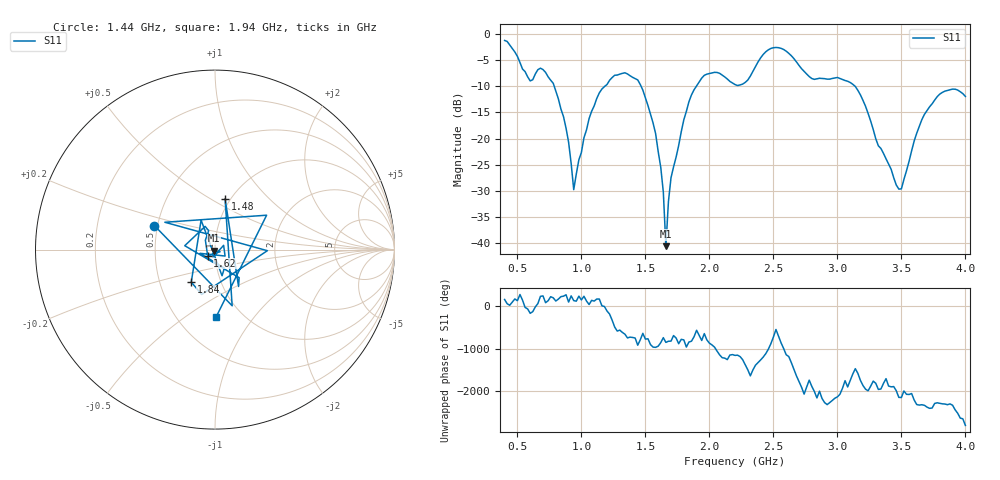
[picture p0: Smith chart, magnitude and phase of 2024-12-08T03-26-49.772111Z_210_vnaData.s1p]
!Created with skrf (http://scikit-rf.org).
# Hz S RI R 50.0
!freq ReS11 ImS11
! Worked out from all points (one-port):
!   181 points, 400 MHz to 4 GHz, reference 50 ohm
!   lowest |S11| = -40.5 dB at 1.66 GHz (marker M1), VSWR 1.02, Z = 49.3 - j0.657 ohm
!   |S11| at or under -10 dB: 787.3 MHz to 1.184 GHz (397 MHz wide, 40.3 % of centre); 1.466 GHz to 1.899 GHz (432.8 MHz wide, 25.7 % of centre); 3.137 GHz to end of sweep
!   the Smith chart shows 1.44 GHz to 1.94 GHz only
!   S11 on the Smith chart (normalised r, x): 1.44 GHz: 0.48, +0.15; 1.48 GHz: 0.94, +0.59; 1.62 GHz: 0.92, -0.06; 1.84 GHz: 0.72, -0.28; 1.94 GHz: 0.76, -0.67
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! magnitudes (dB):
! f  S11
! 400 MHz  -1.3
! 600 MHz  -9.0
! 720 MHz  -7.4
! 860 MHz  -15.8
! 900 MHz  -20.7
! 940 MHz  -29.8
! 1.08 GHz  -14.8
! 1.3 GHz  -7.7
! 1.44 GHz  -8.8
! 1.48 GHz  -10.8
! 1.58 GHz  -19.1
! 1.62 GHz  -25.5
! 1.64 GHz  -30.2
! 1.66 GHz  -40.5
! 1.7 GHz  -27.5
! 1.76 GHz  -21.3
! 1.84 GHz  -13.0
! 1.94 GHz  -8.5
! 2.2 GHz  -9.7
! 2.48 GHz  -2.8
! 2.66 GHz  -4.7
! 2.8 GHz  -8.6
! 3.1 GHz  -9.3
! 3.48 GHz  -29.7
! 3.56 GHz  -24.3
! 3.66 GHz  -16.4
! 3.78 GHz  -12.0
! 4 GHz  -12.0
